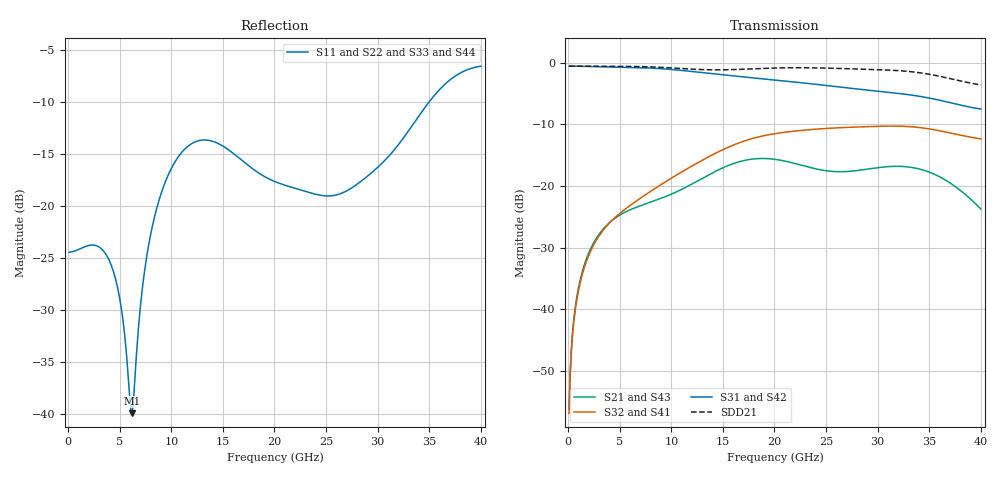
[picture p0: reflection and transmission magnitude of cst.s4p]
! E_s8_L1L8_p1200_round_g2: pair L1→L8, pitch 1.2 mm, two round antipads, 2 GND vias
! stackup: 8-layer 1.6 mm FR-4 (generic)
! ports: 1 P near, 2 N near, 3 P far, 4 N far
! CST Studio Suite 2025.5 Release from 2025-05-30, time domain (FIT, hexahedral, PBA), 168480 mesh cells, 42 s
! mesh: {'lpw': 20, 'lpb': 20, 'minstep': 0.0, 'ratio': 20}; ports: port 1 (face); port 2 (face); port 3 (face); port 4 (face)
! interpolated from CST's 1001 samples to the case grid
# Hz S RI R 50
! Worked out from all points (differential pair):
!   400 points, 100 MHz to 40 GHz, reference 50 ohm
!   strongest paths, dB at 100 MHz, 10.1 GHz, 20.1 GHz, 30.1 GHz, 40 GHz:
!     S31: -0.5, -1.1, -2.8, -4.6, -7.5
!     S42: -0.5, -1.1, -2.8, -4.6, -7.5
!     S32: -56.9, -18.6, -11.5, -10.3, -12.3
!     S41: -56.9, -18.6, -11.5, -10.3, -12.3
!     S21: -56.2, -21.2, -15.7, -17.0, -23.7
!     S43: -56.2, -21.2, -15.7, -17.0, -23.7
!   taken as a pair (ports 1,2 in; 3,4 out), SDD21 dB: -0.5, -0.8, -0.8, -1.1, -3.6
!   lowest |S11| = -40.0 dB at 6.2 GHz (marker M1), VSWR 1.02, Z = 50.3 + j0.957 ohm
!   |S11| at or under -10 dB: start of sweep to 34.99 GHz
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1e8  -0.0596 0.00442  0.000444 0.00148  0.9388 -0.0362  -0.000264 -0.00141
     0.000444 0.00148  -0.0596 0.00442  -0.000264 -0.00141  0.9388 -0.0362
     0.9388 -0.0362  -0.000264 -0.00141  -0.0596 0.00442  0.000444 0.00148
     -0.000264 -0.00141  0.9388 -0.0362  0.000444 0.00148  -0.0596 0.00442
1.5e9  -0.0308 0.0551  0.0137 0.0171  0.7848 -0.5112  -0.0132 -0.0161
       0.0137 0.0171  -0.0308 0.0551  -0.0132 -0.0161  0.7848 -0.5112
       0.7848 -0.5112  -0.0132 -0.0161  -0.0308 0.0551  0.0137 0.0171
       -0.0132 -0.0161  0.7848 -0.5112  0.0137 0.0171  -0.0308 0.0551
6.2e9  0.00317 0.00951  0.0348 -0.0551  -0.6586 -0.6382  -0.038 0.0606
       0.0348 -0.0551  0.00318 0.00951  -0.038 0.0606  -0.6586 -0.6382
       -0.6586 -0.6382  -0.038 0.0606  0.00317 0.00951  0.0348 -0.0551
       -0.038 0.0606  -0.6586 -0.6382  0.0348 -0.0551  0.00316 0.00951
1.21e10  0.1845 0.0791  -0.105 -0.000194  -0.0606 0.847  0.146 -0.0164
         -0.105 -0.000194  0.1845 0.0791  0.146 -0.0164  -0.0606 0.847
         -0.0606 0.847  0.146 -0.0164  0.1845 0.0791  -0.105 -0.000186
         0.146 -0.0164  -0.0606 0.847  -0.105 -0.000186  0.1845 0.0791
2.02e10  0.0124 -0.1292  0.1533 -0.0584  0.1304 -0.7104  -0.2393 0.1195
         0.1533 -0.0584  0.0124 -0.1292  -0.2393 0.1195  0.1304 -0.7104
         0.1304 -0.7104  -0.2393 0.1195  0.0124 -0.1293  0.1533 -0.0584
         -0.2393 0.1195  0.1304 -0.7104  0.1533 -0.0584  0.0124 -0.1293
2.87e10  -0.0266 0.1322  -0.1147 0.0732  -0.0944 0.5974  0.1726 -0.2491
         -0.1147 0.0732  -0.0266 0.1322  0.1726 -0.2491  -0.0944 0.5974
         -0.0944 0.5974  0.1726 -0.2491  -0.0266 0.1323  -0.1146 0.0732
         0.1726 -0.2491  -0.0944 0.5974  -0.1146 0.0732  -0.0266 0.1323
4e10  0.1659 -0.4395  -0.058 -0.0295  -0.3386 -0.2513  0.2101 0.1187
      -0.058 -0.0295  0.1659 -0.4395  0.2101 0.1187  -0.3386 -0.2513
      -0.3386 -0.2513  0.2101 0.1187  0.1659 -0.4395  -0.058 -0.0295
      0.2101 0.1187  -0.3386 -0.2513  -0.058 -0.0295  0.1659 -0.4395
